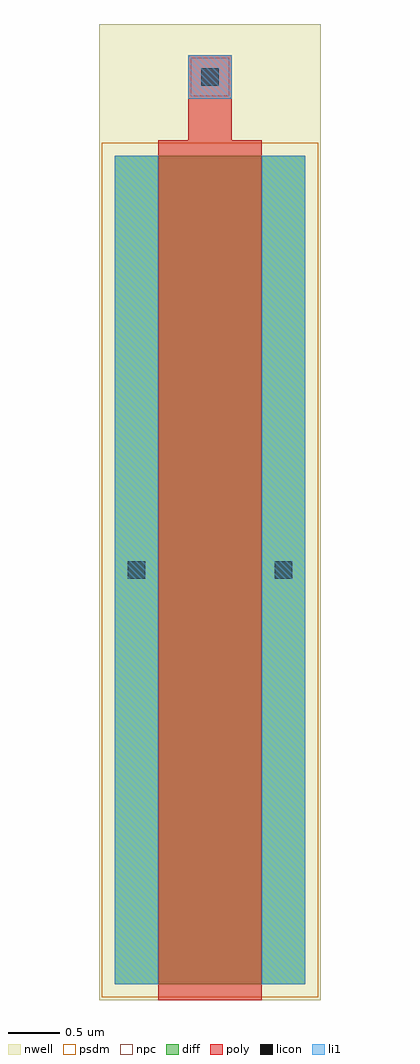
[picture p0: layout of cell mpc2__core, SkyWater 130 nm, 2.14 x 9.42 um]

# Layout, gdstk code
import gdstk
lib = gdstk.Library(unit=1e-6, precision=1e-09)
def R(c, l, rs):  # rectangles x0, y0, x1, y1
    for r in rs: c.add(gdstk.rectangle(r[:2], r[2:], *l))
nwell = (64, 20)
diff = (65, 20)
poly = (66, 20)
licon = (66, 44)
li1 = (67, 20)
psdm = (94, 20)
npc = (95, 20)

mpc2__core = lib.new_cell('mpc2__core')
R(mpc2__core, nwell, [(-0.15,-0.15,1.99,9.27)])
R(mpc2__core, diff, [(0,0,1.84,8)])
R(mpc2__core, poly, [(0.42,-0.15,1.42,8), (0.42,8,1.42,8.15), (0.42,8,1.42,8.15), (0.71,8.15,1.13,8.97)])
R(mpc2__core, licon, [(0.125,3.915,0.295,4.085), (1.545,3.915,1.715,4.085), (0.835,8.675,1.005,8.845)])
R(mpc2__core, li1, [(0,0,0.42,8), (1.42,0,1.84,8), (0.71,8.55,1.13,8.97)])
R(mpc2__core, psdm, [(-0.125,-0.125,1.965,8.125)])
R(mpc2__core, npc, [(0.735,8.575,1.105,8.945)])

lib.write_gds('mpc2__core.gds')
